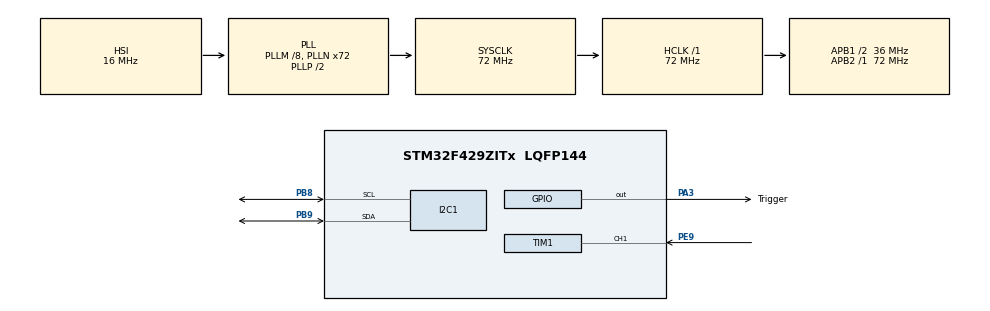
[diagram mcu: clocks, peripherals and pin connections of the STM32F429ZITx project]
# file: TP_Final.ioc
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Mcu.Family=STM32F4
Mcu.Name=STM32F429ZITx
Mcu.Package=LQFP144
NVIC.PriorityGroup=NVIC_PRIORITYGROUP_4
NVIC.TIM1_CC_IRQn=true\:0\:0\:false\:false\:true\:true\:true\:true
PA3.GPIO_Label=Trigger
PA3.Signal=GPIO_Output
PB8.Mode=I2C
PB8.Signal=I2C1_SCL
PB9.Mode=I2C
PB9.Signal=I2C1_SDA
PE9.Signal=S_TIM1_CH1
PH0/OSC_IN.Mode=HSE-External-Oscillator
PH0/OSC_IN.Signal=RCC_OSC_IN
PH1/OSC_OUT.Mode=HSE-External-Oscillator
PH1/OSC_OUT.Signal=RCC_OSC_OUT
ProjectManager.HeapSize=0x200
ProjectManager.StackSize=0x400
ProjectManager.TargetToolchain=STM32CubeIDE
RCC.48MHZClocksFreq_Value=36000000
RCC.AHBFreq_Value=72000000
RCC.APB1CLKDivider=RCC_HCLK_DIV2
RCC.APB1Freq_Value=36000000
RCC.APB1TimFreq_Value=72000000
RCC.APB2Freq_Value=72000000
RCC.APB2TimFreq_Value=72000000
RCC.CortexFreq_Value=72000000
RCC.HCLKFreq_Value=72000000
RCC.HSE_VALUE=25000000
RCC.HSI_VALUE=16000000
RCC.LSE_VALUE=32768
RCC.PLLM=8
RCC.PLLN=72
RCC.SYSCLKFreq_VALUE=72000000
RCC.SYSCLKSource=RCC_SYSCLKSOURCE_PLLCLK
RCC.VCOOutputFreq_Value=144000000
SH.S_TIM1_CH1.0=TIM1_CH1,Input_Capture1_from_TI1
TIM1.Channel-Input_Capture1_from_TI1=TIM_CHANNEL_1
TIM1.Prescaler=71
board=custom

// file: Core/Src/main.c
/* USER CODE BEGIN Header */
/**
 ******************************************************************************
 * @file           : main.c
 * @author  Mendoza, Dante.
 * @brief          : Main program body
 ******************************************************************************
 * @attention
 *
 * En este trabajo práctico, se implementará un sistema de medición de distancia utilizando un
 * sensor ultrasónico HC-SR04 y un microcontrolador NUCLEO-STM32F429ZI.
 * El objetivo principal es diseñar un sistema que pueda medir la distancia entre un objeto y el sensor,
 * y luego mostrar esta información en una pantalla LCD mediante el protocolo I2C.
 *
 ******************************************************************************
 */
/* USER CODE END Header */
#include "main.h"
#include "i2c.h"
#include "tim.h"
#include "gpio.h"

/* USER CODE BEGIN Includes */
#include <stdio.h>
#include <API_hcsr04.h>
#include <API_lcd_i2c.h>
#include <API_delay.h>
#include <API_hcsr04FSM.h>

/* USER CODE END Includes */

/* USER CODE BEGIN PD */
#define REFRESH_LCD 1000
/* USER CODE END PD */

/* USER CODE BEGIN PV */
uint16_t hcsr04_distance = 0;
char buffer_lcd[20];
delay_t delay_lcd;
/* USER CODE END PV */

void SystemClock_Config(void);

int main(void) {

	/* MCU Configuration--------------------------------------------------------*/

	/* Reset of all peripherals, Initializes the Flash interface and the Systick. */
	HAL_Init();

	/* Configure the system clock */
	SystemClock_Config();

	/* Initialize all configured peripherals */
	MX_GPIO_Init();
	MX_TIM1_Init();
	MX_I2C1_Init();
	/* USER CODE BEGIN 2 */
	HCSR04_Init();
	HD44780_Init(2);
	hcsr04FSM_init();
	/* USER CODE END 2 */

	/* Infinite loop */
	/* USER CODE BEGIN WHILE */
	while (1) {
		if (delayRead(&delay_lcd)) {
			hcsr04_distance = HCSR04_Get_Distance();

			hcsr04FSM_update(hcsr04_distance);

			HD44780_Clear();
			HD44780_SetCursor(0, 0); // Primera linea.
			HD44780_PrintStr("Sensor HC-SR04");

			HD44780_SetCursor(0, 1); // Segunda linea.
			sprintf(buffer_lcd, "Distancia: %ucm.", hcsr04_distance);
			//snprintf(buffer_lcd, sizeof(buffer_lcd), "Distancia: %ucm.", hcsr04_distance);
			HD44780_PrintStr(buffer_lcd);
			delayWrite(&delay_lcd, REFRESH_LCD);
		}
		/* USER CODE END WHILE */

	}
}

void SystemClock_Config(void) {
	RCC_OscInitTypeDef RCC_OscInitStruct = { 0 };
	RCC_ClkInitTypeDef RCC_ClkInitStruct = { 0 };

	/** Configure the main internal regulator output voltage
	 */
	__HAL_RCC_PWR_CLK_ENABLE();
	__HAL_PWR_VOLTAGESCALING_CONFIG(PWR_REGULATOR_VOLTAGE_SCALE3);

	/** Initializes the RCC Oscillators according to the specified parameters
	 * in the RCC_OscInitTypeDef structure.
	 */
	RCC_OscInitStruct.OscillatorType = RCC_OSCILLATORTYPE_HSI;
	RCC_OscInitStruct.HSIState = RCC_HSI_ON;
	RCC_OscInitStruct.HSICalibrationValue = RCC_HSICALIBRATION_DEFAULT;
	RCC_OscInitStruct.PLL.PLLState = RCC_PLL_ON;
	RCC_OscInitStruct.PLL.PLLSource = RCC_PLLSOURCE_HSI;
	RCC_OscInitStruct.PLL.PLLM = 8;
	RCC_OscInitStruct.PLL.PLLN = 72;
	RCC_OscInitStruct.PLL.PLLP = RCC_PLLP_DIV2;
	RCC_OscInitStruct.PLL.PLLQ = 4;
	if (HAL_RCC_OscConfig(&RCC_OscInitStruct) != HAL_OK) {
		Error_Handler();
	}

	/** Initializes the CPU, AHB and APB buses clocks
	 */
	RCC_ClkInitStruct.ClockType = RCC_CLOCKTYPE_HCLK | RCC_CLOCKTYPE_SYSCLK
			| RCC_CLOCKTYPE_PCLK1 | RCC_CLOCKTYPE_PCLK2;
	RCC_ClkInitStruct.SYSCLKSource = RCC_SYSCLKSOURCE_PLLCLK;
	RCC_ClkInitStruct.AHBCLKDivider = RCC_SYSCLK_DIV1;
	RCC_ClkInitStruct.APB1CLKDivider = RCC_HCLK_DIV2;
	RCC_ClkInitStruct.APB2CLKDivider = RCC_HCLK_DIV1;

	if (HAL_RCC_ClockConfig(&RCC_ClkInitStruct, FLASH_LATENCY_2) != HAL_OK) {
		Error_Handler();
	}
}

void Error_Handler(void) {
	__disable_irq();
	while (1) {
	}
}
